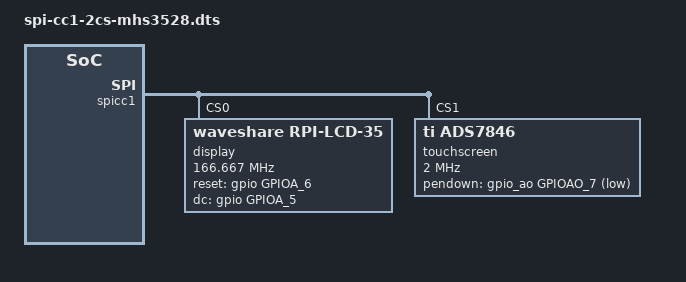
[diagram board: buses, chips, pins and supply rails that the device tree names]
// SPDX-License-Identifier: (GPL-2.0-or-later OR MIT)
/*
 * Copyright (c) 2024 Da Xue
 * Author: Da Xue <da@libre.computer>
 */
/*
 * Summary: spi-cc1-2cs-mhs3528
 *
 * Pins (Header.Pin  Name  Pad  Ref — cross-ref gpio.map):
 *   7J1.11   GPIOAO_7      AV46    GPIOAO_7/JTAG_TMS
 *   7J1.18   GPIOA_5       J13     GPIOA_5
 *   7J1.22   GPIOA_6       E15     GPIOA_6
 *
 * Requires: spi-cc1-2cs
 *
 * Notes:
 * Display stack: tinydrm (DRM tiny / panel) preferred; staging fbtft is the
 * legacy fallback when both are built. Compatible order is tinydrm-first.
 * Properties tagged "fbtft/legacy" are ignored by tinydrm (CONFIG_FB_TFT_* only).
 */
/dts-v1/;
/plugin/;

#include <dt-bindings/gpio/gpio.h>
#include <dt-bindings/gpio/meson-g12a-gpio.h>
#include <dt-bindings/interrupt-controller/irq.h>
#include <dt-bindings/interrupt-controller/amlogic,meson-g12a-gpio-intc.h>

/ {
	compatible = "libre-computer,aml-a311d-cc",
		"libretech,aml-a311d-cc",
		"libre-computer,aml-a311d-cc-v01",
		"libretech,aml-a311d-cc-v01",
		"libre-computer,aml-s905d3-cc",
		"libretech,aml-s905d3-cc",
		"libre-computer,aml-s905d3-cc-v01",
		"libretech,aml-s905d3-cc-v01",
		"amlogic,a311d",
		"amlogic,g12b",
		"amlogic,s905d3",
		"amlogic,sm1";
	
	fragment@0 {
		target = <&spicc1>;
		
		__overlay__ {

			display@0 {
				compatible = "waveshare,rpi-lcd-35",	/* tinydrm: drm/tiny/ili9486 */
					"ilitek,ili9486";	/* fbtft/legacy: staging/fbtft/fb_ili9486 */
				reg = <0>;
				spi-max-frequency = <166666664>;
				reset-gpios = <&gpio GPIOA_6 GPIO_ACTIVE_HIGH>;
				dc-gpios = <&gpio GPIOA_5 GPIO_ACTIVE_HIGH>;
				status = "okay";
			};

			touchscreen@1 {
				compatible = "ti,ads7846";
				reg = <1>;
				spi-max-frequency = <2000000>;
				interrupt-parent = <&gpio_intc>;
				interrupts = <IRQID_GPIOAO_7 IRQ_TYPE_EDGE_FALLING>;
				pendown-gpio = <&gpio_ao GPIOAO_7 GPIO_ACTIVE_LOW>;
				ti,x-plate-ohms = /bits/ 16 <60>;
				ti,pressure-max = /bits/ 16 <255>;
				touchscreen-swapped-x-y;
				touchscreen-inverted-x;
				touchscreen-min-x = <180>;
				touchscreen-size-x = <3880>;
				touchscreen-min-y = <240>;
				touchscreen-size-y = <3940>;
				wakeup-source;
				status = "okay";
			};
		};
	};
};
